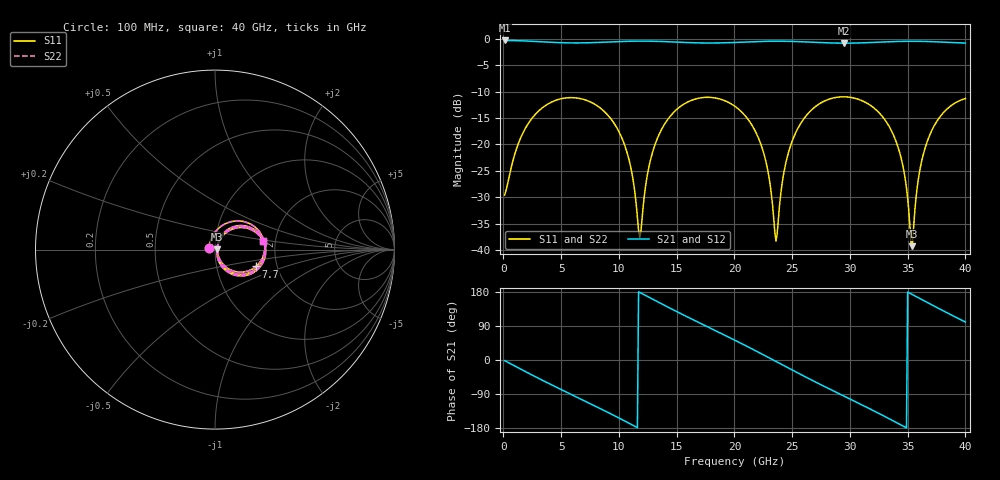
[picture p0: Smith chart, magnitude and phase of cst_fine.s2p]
! thru_BV_ts_refinout2_in: 2×thru F.Cu, 8 mm
! stackup: as the board case
! ports: 1 near, 2 far
! CST Studio Suite 2025.5 Release from 2025-05-30, time domain (FIT, hexahedral, PBA), 492100 mesh cells, 81 s
! mesh: {'lpw': 30.0, 'lpb': 30.0, 'minstep': 0.0, 'ratio': 20}; ports: port 1 (face); port 2 (face)
! interpolated from CST's 1001 samples to the case grid
# Hz S RI R 50
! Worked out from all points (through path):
!   400 points, 100 MHz to 40 GHz, reference 50 ohm
!   highest |S21| = -0.30 dB at 100 MHz (marker M1); lowest = -0.8 dB at 29.5 GHz (marker M2)
!   group delay of S21, straight-line fit = 42.9 ps
!   lowest |S11| = -39.3 dB at 35.4 GHz (marker M3), VSWR 1.02, Z = 51.1 + j0.221 ohm
!   |S11| at or under -10 dB: start of sweep to end of sweep
!   |S22| runs from -39.3 to -11.0 dB; largest |S21 - S12| = 4.5e-07
!   S11 on the Smith chart (normalised r, x): 100 MHz: 0.94, +0.02; 7.7 GHz: 1.56, -0.31; 40 GHz: 1.72, +0.17
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1e8  -0.0321 0.00859  0.9661 -0.0273  0.9661 -0.0273  -0.0321 0.00859
2.5e9  0.0884 0.1552  0.7268 -0.61  0.7268 -0.61  0.0884 0.1552
6.8e9  0.2665 -0.0423  -0.2293 -0.8875  -0.2293 -0.8875  0.2664 -0.0423
7.7e9  0.2291 -0.0937  -0.4302 -0.815  -0.4302 -0.815  0.2291 -0.0937
1.05e10  0.0485 -0.0855  -0.8953 -0.3095  -0.8953 -0.3095  0.0484 -0.0855
1.12e10  0.0216 -0.0429  -0.942 -0.1314  -0.942 -0.1314  0.0216 -0.0429
1.18e10  0.0131 -0.000254  -0.9522 0.0274  -0.9522 0.0274  0.0131 -0.000259
1.25e10  0.0217 0.0499  -0.928 0.2116  -0.928 0.2116  0.0217 0.0499
1.34e10  0.0597 0.1031  -0.8426 0.4328  -0.8426 0.4328  0.0597 0.1031
1.67e10  0.2638 0.0624  -0.1916 0.8975  -0.1916 0.8975  0.2639 0.0622
2.01e10  0.1861 -0.1311  0.5788 0.7231  0.5788 0.7231  0.186 -0.1312
2.25e10  0.0342 -0.0783  0.9205 0.226  0.9205 0.226  0.0341 -0.0783
2.36e10  0.0121 -0.000872  0.9492 -0.0643  0.9492 -0.0643  0.0121 -0.00088
2.46e10  0.0351 0.0697  0.8919 -0.324  0.8919 -0.324  0.0351 0.0697
2.67e10  0.1727 0.1257  0.5579 -0.7447  0.5579 -0.7447  0.1728 0.1256
2.95e10  0.2818 -0.0218  -0.0861 -0.907  -0.0861 -0.907  0.2818 -0.0221
3.34e10  0.0753 -0.1276  -0.8517 -0.3971  -0.8517 -0.3971  0.0751 -0.1276
3.46e10  0.0184 -0.059  -0.9431 -0.095  -0.9431 -0.095  0.0182 -0.059
3.54e10  0.0107 0.00217  -0.9419 0.1192  -0.9419 0.1192  0.0106 0.00216
3.59e10  0.0204 0.0401  -0.9149 0.2507  -0.9149 0.2507  0.0204 0.04
3.67e10  0.0571 0.0906  -0.8321 0.4472  -0.8321 0.4472  0.0572 0.0905
4e10  0.2685 0.0463  -0.1614 0.8983  -0.1614 0.8983  0.2685 0.046
